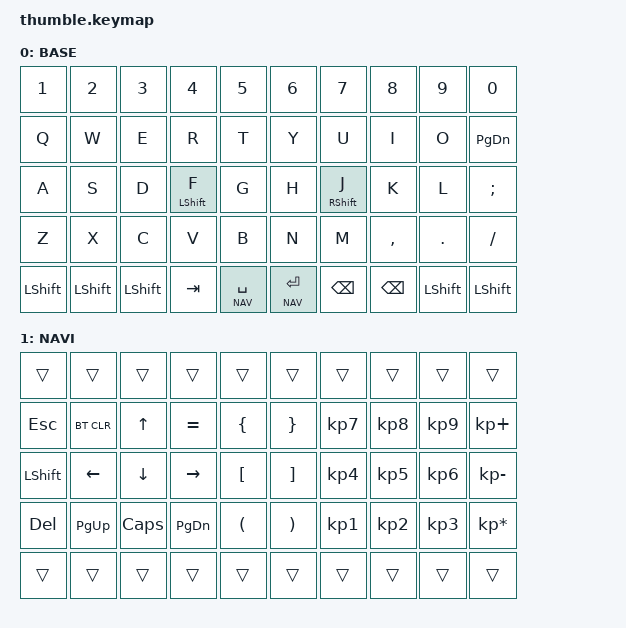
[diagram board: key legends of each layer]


#include <behaviors.dtsi>
#include <dt-bindings/zmk/keys.h>
#include <dt-bindings/zmk/bt.h>
#include <dt-bindings/zmk/outputs.h>

#define BASE 0
#define NAV  1
#define SYM  2
#define ADJ  3

&mt {
  quick-tap-ms = <100>;
  global-quick-tap;
  flavor = "tap-preferred";
  tapping-term-ms = <170>;
};

/ {
    combos {
            compatible = "zmk,combos";
            combo_esc {
                timeout-ms = <50>;
                key-positions = <0 1>;
                bindings = <&kp ESC>;
            };
    };

    keymap {
            compatible = "zmk,keymap";
// ▄▄▄▄▄▄▄▄▄▄▄▄▄▄▄▄▄▄▄▄▄▄▄▄▄▄▄▄▄▄▄▄▄▄▄▄▄▄▄▄▄▄▄▄▄▄▄▄▄▄▄▄▄▄▄▄▄▄▄▄▄▄▄▄▄▄▄▄▄▄▄▄▄▄▄▄▄▄▄▄▄▄▄▄▄▄▄▄▄▄▄▄▄▄▄▄▄▄▄▄▄▄▄▄▄▄▄▄▄▄▄▄▄▄▄▄▄▄▄▄▄▄▄▄▄▄▄▄▄▄▄▄▄▄▄▄▄▄▄▄▄▄▄▄▄▄▄▄▄

                base_layer {
// ┏━━━━━━━━━━━━━━━━━━━━━━━━━━━━━━━━━━━━━━━┓
label= "BASE"                              ;
// ┗━━━━━━━━━━━━━━━━━━━━━━━━━━━━━━━━━━━━━━━┛
//             ┏━━━━━━━━━━━┳━━━━━━━━━━━┳━━━━━━━━━━━┳━━━━━━━━━━━┳━━━━━━━━━━━┓   ┏━━━━━━━━━━━┳━━━━━━━━━━━┳━━━━━━━━━━━┳━━━━━━━━━━━┳━━━━━━━━━━━┓
//             ┃     1     ┃     2     ┃     3     ┃     4     ┃     5     ┃   ┃     6     ┃     7     ┃     8     ┃     9     ┃     0     ┃
//             ┣━━━━━━━━━━━╋━━━━━━━━━━━╋━━━━━━━━━━━╋━━━━━━━━━━━╋━━━━━━━━━━━┫   ┣━━━━━━━━━━━╋━━━━━━━━━━━╋━━━━━━━━━━━╋━━━━━━━━━━━╋━━━━━━━━━━━┫
//             ┃     Q     ┃     W     ┃     E     ┃     R     ┃     T     ┃   ┃     Y     ┃     U     ┃     I     ┃     O     ┃     P     ┃
//             ┣━━━━━━━━━━━╋━━━━━━━━━━━╋━━━━━━━━━━━╋━━━━━━━━━━━╋━━━━━━━━━━━┫   ┣━━━━━━━━━━━╋━━━━━━━━━━━╋━━━━━━━━━━━╋━━━━━━━━━━━╋━━━━━━━━━━━┫
//             ┃     A     ┃     S     ┃     D     ┃     F     ┃     G     ┃   ┃     H     ┃     J     ┃     K     ┃     L     ┃     ;     ┃
//             ┣━━━━━━━━━━━╋━━━━━━━━━━━╋━━━━━━━━━━━╋━━━━━━━━━━━╋━━━━━━━━━━━┫   ┣━━━━━━━━━━━╋━━━━━━━━━━━╋━━━━━━━━━━━╋━━━━━━━━━━━╋━━━━━━━━━━━┫
//             ┃     Z     ┃     X     ┃     C     ┃     V     ┃     B     ┃   ┃     N     ┃     M     ┃     ,     ┃     .     ┃     /     ┃
//             ┣━━━━━━━━━━━╋━━━━━━━━━━━╋━━━━━━━━━━━╋━━━━━━━━━━━╋━━━━━━━━━━━┫   ┣━━━━━━━━━━━╋━━━━━━━━━━━╋━━━━━━━━━━━╋━━━━━━━━━━━╋━━━━━━━━━━━┫
//             ┃           ┃           ┃           ┃    TAB    ┃    SPC    ┃   ┃   ENTER   ┃   BSPC    ┃           ┃           ┃           ┃
//             ┗━━━━━━━━━━━┻━━━━━━━━━━━┻━━━━━━━━━━━┻━━━━━━━━━━━┻━━━━━━━━━━━┛   ┗━━━━━━━━━━━┻━━━━━━━━━━━┻━━━━━━━━━━━┻━━━━━━━━━━━┻━━━━━━━━━━━┛
 bindings = <
// ╷           ╷           ╷           ╷           ╷           ╷           ╷   ╷           ╷           ╷           ╷           ╷           ╷           ╷
                &kp N1      &kp N2      &kp N3      &kp N4      &kp N5          &kp N6      &kp N7      &kp N8      &kp N9      &kp N0
                &kp Q       &kp W       &kp E       &kp R       &kp T           &kp Y       &kp U       &kp I       &kp O       &kp PG_DN
                &kp A       &kp S       &kp D       &mt LSHFT F &kp G           &kp H       &mt RSHFT J &kp K       &kp L       &kp SEMI
                &kp Z       &kp X       &kp C       &kp V       &kp B           &kp N       &kp M       &kp COMMA   &kp DOT     &kp FSLH
                &kp LSHIFT  &kp LSHIFT  &kp LSHIFT  &kp TAB     &lt NAV SPACE   &lt NAV RET &kp BSPC    &kp BSPC    &kp LSHIFT  &kp LSHIFT
                        >;
                };

// ▄▄▄▄▄▄▄▄▄▄▄▄▄▄▄▄▄▄▄▄▄▄▄▄▄▄▄▄▄▄▄▄▄▄▄▄▄▄▄▄▄▄▄▄▄▄▄▄▄▄▄▄▄▄▄▄▄▄▄▄▄▄▄▄▄▄▄▄▄▄▄▄▄▄▄▄▄▄▄▄▄▄▄▄▄▄▄▄▄▄▄▄▄▄▄▄▄▄▄▄▄▄▄▄▄▄▄▄▄▄▄▄▄▄▄▄▄▄▄▄▄▄▄▄▄▄▄▄▄▄▄▄▄▄▄▄▄▄▄▄▄▄▄▄▄▄▄▄▄


                nav_layer {
// ┏━━━━━━━━━━━━━━━━━━━━━━━━━━━━━━━━━━━━━━━┓
label= "NAVI"                              ;
// ┗━━━━━━━━━━━━━━━━━━━━━━━━━━━━━━━━━━━━━━━┛
//             ┏━━━━━━━━━━━┳━━━━━━━━━━━┳━━━━━━━━━━━┳━━━━━━━━━━━┳━━━━━━━━━━━┓   ┏━━━━━━━━━━━┳━━━━━━━━━━━┳━━━━━━━━━━━┳━━━━━━━━━━━┳━━━━━━━━━━━┓
//             ┃           ┃           ┃     UP    ┃           ┃     {     ┃   ┃     }     ┃     7     ┃     8     ┃     9     ┃     +     ┃
//             ┣━━━━━━━━━━━╋━━━━━━━━━━━╋━━━━━━━━━━━╋━━━━━━━━━━━╋━━━━━━━━━━━┫   ┣━━━━━━━━━━━╋━━━━━━━━━━━╋━━━━━━━━━━━╋━━━━━━━━━━━╋━━━━━━━━━━━┫
//             ┃   SHIFT   ┃   LEFT    ┃    DOWN   ┃   RIGHT   ┃     [     ┃   ┃     ]     ┃     4     ┃     5     ┃     6     ┃     -     ┃
// ┏━━━━━━━━━━━╋━━━━━━━━━━━╋━━━━━━━━━━━╋━━━━━━━━━━━╋━━━━━━━━━━━╋━━━━━━━━━━━┫   ┣━━━━━━━━━━━╋━━━━━━━━━━━╋━━━━━━━━━━━╋━━━━━━━━━━━╋━━━━━━━━━━━╋━━━━━━━━━━━┓
// ┃           ┃           ┃   P UP    ┃  C LOCK   ┃  P DOWN   ┃     (     ┃   ┃     )     ┃     1     ┃     2     ┃     3     ┃     *     ┃           ┃
// ┗━━━━━━━━━━━┻━━━━━━━━━━━┻━━━━━━━━━━━╋━━━━━━━━━━━╋━━━━━━━━━━━╋━━━━━━━━━━━┫   ┣━━━━━━━━━━━╋━━━━━━━━━━━╋━━━━━━━━━━━╋━━━━━━━━━━━┻━━━━━━━━━━━┻━━━━━━━━━━━┛
//                                     ┃           ┃    TAB    ┃    SPC    ┃   ┃    DEL    ┃     0     ┃           ┃
//                                     ┗━━━━━━━━━━━┻━━━━━━━━━━━┻━━━━━━━━━━━┛   ┗━━━━━━━━━━━┻━━━━━━━━━━━┻━━━━━━━━━━━┛
 bindings = <
// ╷           ╷           ╷           ╷           ╷           ╷           ╷   ╷           ╷           ╷           ╷           ╷           ╷           ╷
                &trans      &trans      &trans      &trans      &trans          &trans      &trans      &trans      &trans      &trans  
                &kp ESC     &bt BT_CLR  &kp UP      &kp EQUAL   &kp LBRC        &kp RBRC    &kp KP_N7   &kp KP_N8   &kp KP_N9   &kp KP_PLUS
                &kp LSHFT   &kp LEFT    &kp DOWN    &kp RIGHT   &kp LBKT        &kp RBKT    &kp KP_N4   &kp KP_N5   &kp KP_N6   &kp KP_MINUS
                &kp DEL     &kp PG_UP   &kp CAPS    &kp PG_DN   &kp LPAR        &kp RPAR    &kp KP_N1   &kp KP_N2   &kp KP_N3   &kp KP_MULTIPLY      
                &trans      &trans      &trans      &trans      &trans          &trans      &trans      &trans      &trans      &trans      
                        >;
                };

    };
};
